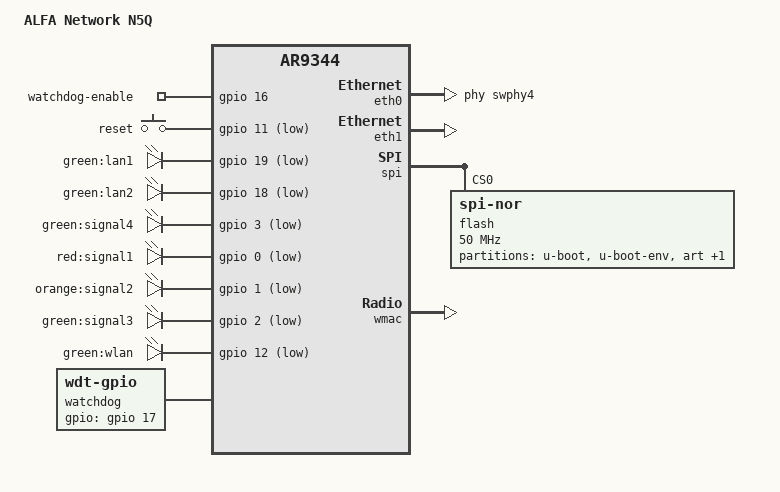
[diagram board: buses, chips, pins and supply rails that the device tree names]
// SPDX-License-Identifier: GPL-2.0-or-later OR MIT

#include "ar9344.dtsi"

#include <dt-bindings/gpio/gpio.h>
#include <dt-bindings/input/input.h>

/ {
	model = "ALFA Network N5Q";
	compatible = "alfa-network,n5q", "qca,ar9344";

	aliases {
		label-mac-device = &wmac;
		led-boot = &led_signal4;
		led-failsafe = &led_signal4;
		led-upgrade = &led_signal4;
	};

	gpio-export {
		compatible = "gpio-export";
		#size-cells = <0>;

		watchdog-enable {
			gpio-export,name = "watchdog-enable";
			gpio-export,output = <1>;
			gpios = <&gpio 16 GPIO_ACTIVE_HIGH>;
		};
	};

	keys {
		compatible = "gpio-keys";

		reset {
			label = "reset";
			linux,code = <KEY_RESTART>;
			gpios = <&gpio 11 GPIO_ACTIVE_LOW>;
			debounce-interval = <60>;
		};
	};

	leds {
		compatible = "gpio-leds";

		lan1 {
			label = "green:lan1";
			gpios = <&gpio 19 GPIO_ACTIVE_LOW>;
		};

		lan2 {
			label = "green:lan2";
			gpios = <&gpio 18 GPIO_ACTIVE_LOW>;
		};

		led_signal4: signal4 {
			label = "green:signal4";
			gpios = <&gpio 3 GPIO_ACTIVE_LOW>;
		};

		signal1 {
			label = "red:signal1";
			gpios = <&gpio 0 GPIO_ACTIVE_LOW>;
		};

		signal2 {
			label = "orange:signal2";
			gpios = <&gpio 1 GPIO_ACTIVE_LOW>;
		};

		signal3 {
			label = "green:signal3";
			gpios = <&gpio 2 GPIO_ACTIVE_LOW>;
		};

		wlan {
			label = "green:wlan";
			gpios = <&gpio 12 GPIO_ACTIVE_LOW>;
			linux,default-trigger = "phy0tpt";
		};
	};

	watchdog {
		compatible = "linux,wdt-gpio";
		gpios = <&gpio 17 GPIO_ACTIVE_HIGH>;
		hw_algo = "toggle";
		hw_margin_ms = <25000>;
		always-running;
	};
};

&eth0 {
	status = "okay";

	nvmem-cells = <&macaddr_art_0>;
	nvmem-cell-names = "mac-address";
	phy-handle = <&swphy4>;
};

&eth1 {
	status = "okay";

	nvmem-cells = <&macaddr_art_6>;
	nvmem-cell-names = "mac-address";
};

&ref {
	clock-frequency = <40000000>;
};

&spi {
	status = "okay";

	flash@0 {
		compatible = "jedec,spi-nor";
		reg = <0>;
		spi-max-frequency = <50000000>;
		m25p,fast-read;

		partitions {
			compatible = "fixed-partitions";
			#address-cells = <1>;
			#size-cells = <1>;

			partition@0 {
				label = "u-boot";
				reg = <0x000000 0x060000>;
				read-only;
			};

			partition@60000 {
				label = "u-boot-env";
				reg = <0x060000 0x010000>;
			};

			partition@70000 {
				label = "art";
				reg = <0x070000 0x010000>;
				read-only;

				compatible = "nvmem-cells";
				#address-cells = <1>;
				#size-cells = <1>;

				cal_art_1000: cal@1000 {
					reg = <0x1000 0x440>;
				};

				macaddr_art_0: macaddr@0 {
					reg = <0x0 0x6>;
				};

				macaddr_art_6: macaddr@6 {
					reg = <0x6 0x6>;
				};

				macaddr_art_1002: macaddr@1002 {
					reg = <0x1002 0x6>;
				};
			};

			partition@80000 {
				compatible = "denx,uimage";
				label = "firmware";
				reg = <0x080000 0xf80000>;
			};
		};
	};
};

&wmac {
	status = "okay";

	nvmem-cells = <&cal_art_1000>, <&macaddr_art_1002>;
	nvmem-cell-names = "calibration", "mac-address";
};
